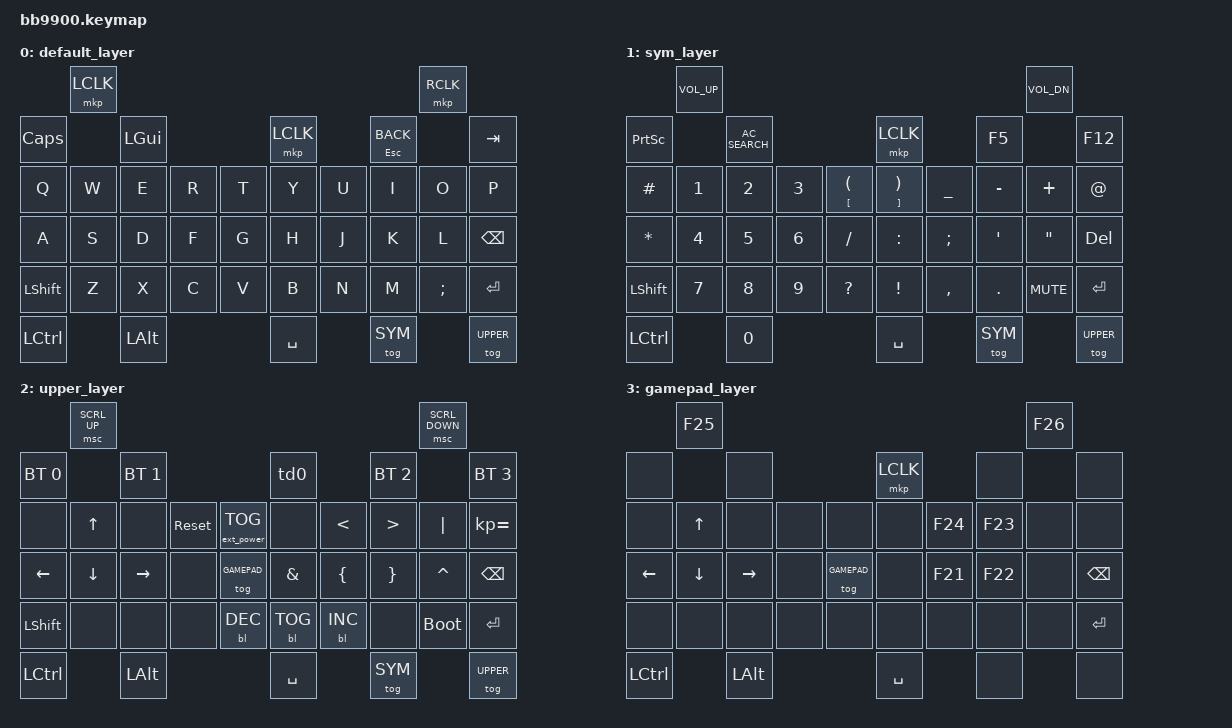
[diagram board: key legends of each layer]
/*
 * SPDX-License-Identifier: MIT
 */
   
#include <behaviors.dtsi>
#include <dt-bindings/zmk/keys.h>
#include <dt-bindings/zmk/bt.h>
#include <dt-bindings/zmk/outputs.h>
#include <dt-bindings/zmk/mouse.h>
#include <dt-bindings/zmk/backlight.h>
#include <dt-bindings/zmk/ext_power.h>


#define SYM 1
#define UPPER 2
#define GAMEPAD 3

/ {
    behaviors {
        td0: tap_dance_0 {
            compatible = "zmk,behavior-tap-dance";
            #binding-cells = <0>;
            tapping-term-ms = <400>;
            bindings = <&mkp LCLK>, <&bt BT_CLR>;
        };
    };

    keymap {
        compatible = "zmk,keymap";

        default_layer {

            bindings = <
                 &mkp LCLK                                                                                          &mkp RCLK
    &kp CLCK                &kp LGUI                            &mkp LCLK                          &mt ESC K_BACK                    &kp TAB
    &kp Q        &kp W      &kp E       &kp R     &kp T         &kp Y             &kp U            &kp I            &kp O            &kp P
    &kp A        &kp S      &kp D       &kp F     &kp G         &kp H             &kp J            &kp K            &kp L            &kp BSPC
    &kp LSHFT    &kp Z      &kp X       &kp C     &kp V         &kp B             &kp N            &kp M            &kp SEMI         &kp ENTER
    &kp LCTRL               &kp LALT                            &kp SPACE                          &tog SYM                          &tog UPPER
            >;
        };


        sym_layer {

            bindings = <        
                 &kp C_VOL_UP                                                                                       &kp C_VOL_DN
    &kp PSCRN               &kp C_AC_SEARCH                     &mkp LCLK                          &kp F5                            &kp F12 
    &kp HASH     &kp N1     &kp N2      &kp N3    &mt LBKT LPAR &mt RBKT RPAR     &kp UNDER        &kp MINUS        &kp PLUS         &kp AT
    &kp STAR     &kp N4     &kp N5      &kp N6    &kp SLASH     &kp COLON         &kp SEMI         &kp APOS         &kp DQT          &kp DEL
    &kp LSHFT    &kp N7     &kp N8      &kp N9    &kp QMARK     &kp EXCL          &kp COMMA        &kp DOT          &kp C_MUTE       &kp ENTER
    &kp LCTRL               &kp N0                              &kp SPACE                          &tog SYM                          &tog UPPER
            >;
        };

        upper_layer {

            bindings = <
                 &msc SCRL_UP                                                                                       &msc SCRL_DOWN
    &bt BT_SEL 0            &bt BT_SEL 1                             &td0                           &bt BT_SEL 2                     &bt BT_SEL 3
    &none        &kp UP     &none       &sys_reset &ext_power EP_TOG &none         &kp LT           &kp GT          &kp PIPE         &kp KP_EQUAL
    &kp LEFT     &kp DOWN   &kp RIGHT   &none      &tog GAMEPAD      &kp AMPS      &kp LBRC         &kp RBRC        &kp CARET        &kp BSPC
    &kp LSHFT    &none      &none       &none      &bl BL_DEC        &bl BL_TOG    &bl BL_INC       &none           &bootloader      &kp ENTER
    &kp LCTRL               &kp LALT                                 &kp SPACE                          &tog SYM                         &tog UPPER
            >;
        };

        gamepad_layer {

            bindings = <
                 &kp F25                                                                                            &kp F26
    &none                   &none                               &mkp LCLK                          &none                             &none
    &none        &kp UP     &none       &none     &none         &none             &kp F24          &kp F23          &none            &none
    &kp LEFT     &kp DOWN   &kp RIGHT   &none     &tog GAMEPAD  &none             &kp F21          &kp F22          &none            &kp BSPC
    &none        &none      &none       &none     &none         &none             &none            &none            &none            &kp ENTER
    &kp LCTRL               &kp LALT                            &kp SPACE                          &none                             &none
            >;
        };
    };
};
